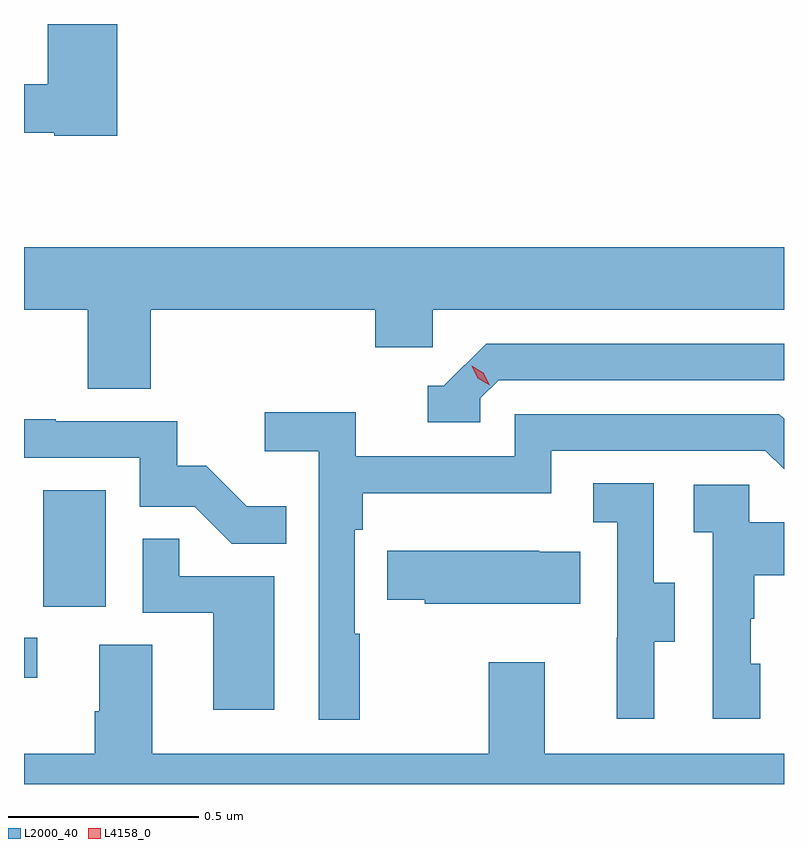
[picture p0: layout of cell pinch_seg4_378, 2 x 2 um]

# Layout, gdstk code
import gdstk
lib = gdstk.Library(unit=1e-6, precision=1e-09)
def R(c, l, rs):  # rectangles x0, y0, x1, y1
    for r in rs: c.add(gdstk.rectangle(r[:2], r[2:], *l))
def P(c, l, *ps):  # polygons
    for p in ps: c.add(gdstk.Polygon(p, *l))
L2000_40 = (2000, 40)
L4158_0 = (4158, 0)

pinch_seg4_378 = lib.new_cell('pinch_seg4_378')
R(pinch_seg4_378, L2000_40, [(929.615,769.212,929.65,769.317), (929.666,769.398,929.83,769.705)])
P(pinch_seg4_378, L2000_40, [(929.861,770.932),(929.678,770.932),(929.678,770.774),(929.615,770.774),(929.615,770.646),(929.694,770.646),(929.694,770.638),(929.861,770.638)],
  [(929.948,770.18),(930.539,770.18),(930.539,770.082),(930.69,770.082),(930.69,770.18),(931.615,770.18),(931.615,770.344),(929.615,770.344),(929.615,770.18),(929.783,770.18),(929.783,769.972),(929.948,769.972)],
  [(930.816,769.947),(930.864,769.995),(931.615,769.995),(931.615,770.091),(930.831,770.091),(930.72,769.98),(930.677,769.98),(930.677,769.884),(930.816,769.884)],
  [(930.499,769.328),(930.486,769.328),(930.486,769.601),(930.506,769.601),(930.506,769.697),(931.002,769.697),(931.002,769.809),(931.566,769.809),(931.615,769.76),(931.615,769.893),(931.603,769.905),(930.906,769.905),(930.906,769.794),(930.488,769.794),(930.488,769.91),(930.249,769.91),(930.249,769.808),(930.39,769.808),(930.39,769.101),(930.499,769.101)],
  [(930.305,769.663),(930.201,769.663),(930.094,769.77),(930.018,769.77),(930.018,769.887),(929.699,769.887),(929.699,769.892),(929.615,769.892),(929.615,769.791),(929.919,769.791),(929.919,769.662),(930.064,769.662),(930.162,769.564),(930.305,769.564)],
  [(931.273,769.306),(931.327,769.306),(931.327,769.461),(931.272,769.461),(931.272,769.724),(931.113,769.724),(931.113,769.621),(931.176,769.621),(931.176,769.317),(931.175,769.317),(931.175,769.104),(931.273,769.104)],
  [(931.552,769.248),(931.527,769.248),(931.527,769.367),(931.537,769.367),(931.537,769.481),(931.615,769.481),(931.615,769.621),(931.524,769.621),(931.524,769.719),(931.377,769.719),(931.377,769.595),(931.428,769.595),(931.428,769.104),(931.552,769.104)],
  [(930.274,769.479),(930.023,769.479),(930.023,769.577),(929.928,769.577),(929.928,769.383),(930.113,769.383),(930.113,769.128),(930.274,769.128)],
  [(931.079,769.543),(930.971,769.543),(930.971,769.546),(930.571,769.546),(930.571,769.417),(930.669,769.417),(930.669,769.406),(931.079,769.406)],
  [(931.615,769.012),(930.985,769.012),(930.985,769.252),(930.838,769.252),(930.838,769.012),(929.953,769.012),(929.953,769.298),(929.813,769.298),(929.813,769.124),(929.801,769.124),(929.801,769.012),(929.615,769.012),(929.615,768.932),(931.615,768.932)])
P(pinch_seg4_378, L4158_0, [(930.84,769.981),(930.809,770),(930.793,770.033),(930.793,770.033),(930.793,770.033),(930.824,770.014),(930.841,769.982),(930.841,769.981)])

lib.write_gds('pinch_seg4_378.gds')
